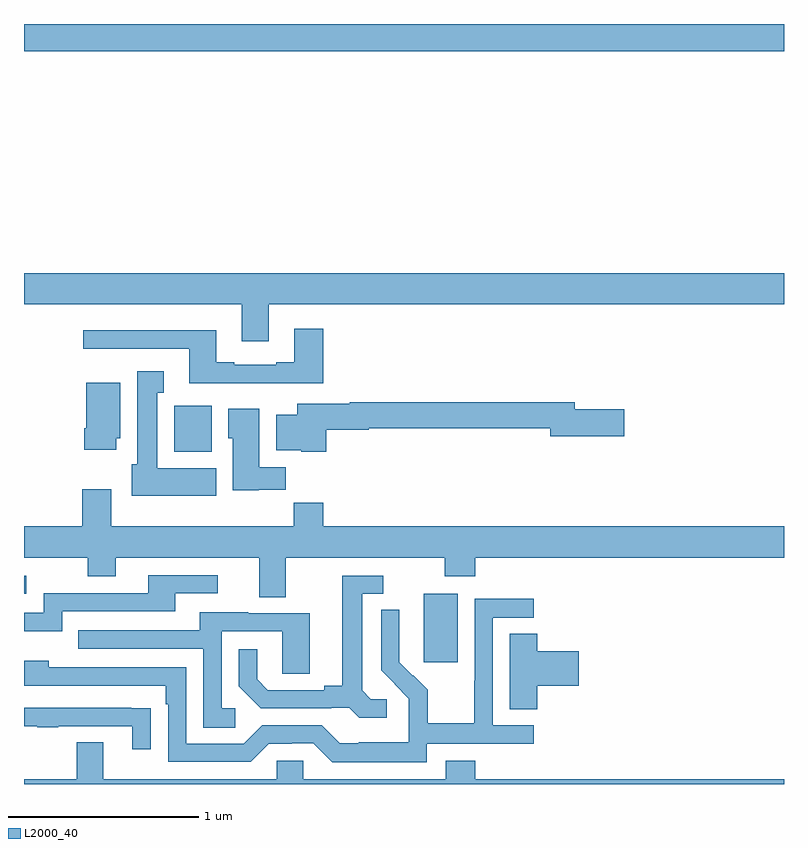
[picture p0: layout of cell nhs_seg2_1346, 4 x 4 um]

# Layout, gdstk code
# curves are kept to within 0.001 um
import gdstk
lib = gdstk.Library(unit=1e-6, precision=1e-09)
def R(c, l, rs):  # rectangles x0, y0, x1, y1
    for r in rs: c.add(gdstk.rectangle(r[:2], r[2:], *l))
def P(c, l, *ps):  # polygons
    for p in ps: c.add(gdstk.Polygon(p, *l))
L2000_40 = (2000, 40)

nhs_seg2_1346 = lib.new_cell('nhs_seg2_1346')
R(nhs_seg2_1346, L2000_40, [(183.104,624.441,183.283,624.802), (181,624.801,181.012,624.897), (181.79,625.55,181.987,625.792), (181,627.656,185,627.8)])
P(nhs_seg2_1346, L2000_40, [(182.287,626.324),(185,626.324),(185,626.488),(181,626.488),(181,626.324),(182.147,626.324),(182.147,626.13),(182.287,626.13)],
  [(182.576,626.197),(182.423,626.197),(182.423,626.02),(182.327,626.02),(182.327,626.007),(182.107,626.007),(182.107,626.02),(182.011,626.02),(182.011,626.188),(181.311,626.188),(181.311,626.091),(181.871,626.091),(181.871,625.91),(182.576,625.91)],
  [(182.011,625.462),(181.702,625.462),(181.702,625.859),(181.735,625.859),(181.735,625.972),(181.595,625.972),(181.595,625.482),(181.568,625.482),(181.568,625.316),(182.011,625.316)],
  [(181.486,625.62),(181.507,625.62),(181.507,625.912),(181.328,625.912),(181.328,625.672),(181.316,625.672),(181.316,625.56),(181.486,625.56)],
  [(182.591,625.664),(182.814,625.664),(182.814,625.672),(183.77,625.672),(183.77,625.63),(184.159,625.63),(184.159,625.772),(183.898,625.772),(183.898,625.808),(182.714,625.808),(182.714,625.801),(182.438,625.801),(182.438,625.744),(182.327,625.744),(182.327,625.556),(182.46,625.556),(182.46,625.55),(182.591,625.55)],
  [(182.235,625.35),(182.378,625.35),(182.378,625.468),(182.239,625.468),(182.239,625.774),(182.075,625.774),(182.075,625.62),(182.099,625.62),(182.099,625.346),(182.235,625.346)],
  [(182.377,624.992),(183.214,624.992),(183.214,624.893),(183.374,624.893),(183.374,624.992),(185,624.992),(185,625.156),(182.576,625.156),(182.576,625.28),(182.419,625.28),(182.419,625.156),(181.459,625.156),(181.459,625.351),(181.307,625.351),(181.307,625.156),(181,625.156),(181,624.992),(181.336,624.992),(181.336,624.893),(181.483,624.893),(181.483,624.992),(182.237,624.992),(182.237,624.784),(182.377,624.784)],
  [(181.2,624.708),(181.795,624.708),(181.795,624.804),(182.02,624.804),(182.02,624.9),(181.655,624.9),(181.655,624.804),(181.104,624.804),(181.104,624.702),(181,624.702),(181,624.605),(181.2,624.605)],
  [(182.908,624.246),(182.826,624.246),(182.779,624.293),(182.779,624.801),(182.89,624.801),(182.89,624.897),(182.675,624.897),(182.675,624.317),(182.579,624.317),(182.579,624.294),(182.284,624.294),(182.227,624.351),(182.227,624.508),(182.13,624.508),(182.13,624.314),(182.246,624.198),(182.618,624.198),(182.618,624.201),(182.712,624.201),(182.764,624.149),(182.908,624.149)],
  [(183.12,624.012),(183.682,624.012),(183.682,624.108),(183.468,624.108),(183.468,624.675),(183.682,624.675),(183.682,624.774),(183.372,624.774),(183.372,624.344),(183.37,624.344),(183.37,624.121),(183.125,624.121),(183.125,624.295),(183.048,624.372),(183.045,624.369),(182.975,624.44),(182.976,624.716),(182.88,624.716),(182.88,624.398),(183.026,624.25),(183.026,624.153),(183.024,624.153),(183.024,624.019),(182.761,624.019),(182.761,624.015),(182.661,624.015),(182.568,624.108),(182.253,624.108),(182.157,624.012),(181.854,624.012),(181.854,624.414),(181.13,624.414),(181.13,624.448),(181,624.448),(181,624.318),(181.745,624.318),(181.745,624.221),(181.758,624.221),(181.758,623.916),(182.193,623.916),(182.289,624.012),(182.408,624.012),(182.408,624.015),(182.523,624.015),(182.623,623.915),(183.12,623.915)],
  [(182.113,624.198),(182.04,624.198),(182.04,624.603),(182.358,624.603),(182.358,624.379),(182.503,624.379),(182.503,624.699),(182.179,624.699),(182.179,624.703),(181.925,624.703),(181.925,624.609),(181.285,624.609),(181.285,624.513),(181.944,624.513),(181.944,624.097),(182.113,624.097)],
  [(183.701,624.317),(183.919,624.317),(183.919,624.5),(183.701,624.5),(183.701,624.59),(183.557,624.59),(183.557,624.193),(183.701,624.193)],
  [(181.667,624.2),(181.565,624.2),(181.565,624.201),(181,624.201),(181,624.105),(181.069,624.105),(181.069,624.1),(181.181,624.1),(181.181,624.105),(181.571,624.105),(181.571,623.982),(181.667,623.982)],
  [(185,623.824),(183.374,623.824),(183.374,623.923),(183.221,623.923),(183.221,623.824),(182.469,623.824),(182.469,623.922),(182.331,623.922),(182.331,623.824),(181.417,623.824),(181.417,624.019),(181.277,624.019),(181.277,623.824),(181,623.824),(181,623.8),(185,623.8)])

lib.write_gds('nhs_seg2_1346.gds')
